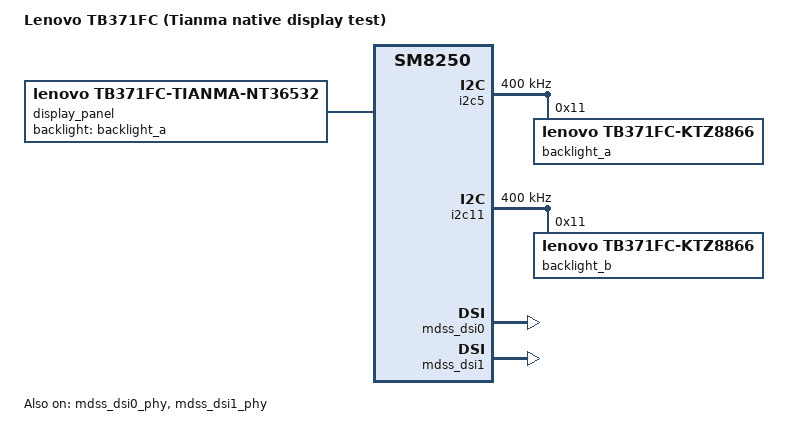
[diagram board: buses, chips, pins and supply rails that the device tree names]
// SPDX-License-Identifier: BSD-3-Clause
/*
 * Lenovo TB371FC native-display test variant.
 *
 * The conservative base DTS intentionally leaves the internal DSI panel off.
 * This variant enables the fitted Tianma NT36532 panel and both synchronized
 * KTZ8866 backlight halves without changing the normal bring-up DTB.
 */

#include "sm8250-lenovo-tb371fc.dts"

/ {
	model = "Lenovo TB371FC (Tianma native display test)";

	chosen {
		stdout-path = "framebuffer0";

		/* Preserve ABL's initialized splash until native DRM takes over. */
		framebuffer0 {
			status = "okay";
			clocks = <&dispcc DISP_CC_MDSS_AHB_CLK>,
				 <&gcc GCC_DISP_HF_AXI_CLK>,
				 <&gcc GCC_DISP_SF_AXI_CLK>,
				 <&dispcc DISP_CC_MDSS_VSYNC_CLK>,
				 <&dispcc DISP_CC_MDSS_MDP_CLK>,
				 <&dispcc DISP_CC_MDSS_BYTE0_CLK>,
				 <&dispcc DISP_CC_MDSS_BYTE0_INTF_CLK>,
				 <&dispcc DISP_CC_MDSS_BYTE1_CLK>,
				 <&dispcc DISP_CC_MDSS_BYTE1_INTF_CLK>,
				 <&dispcc DISP_CC_MDSS_PCLK0_CLK>,
				 <&dispcc DISP_CC_MDSS_PCLK1_CLK>,
				 <&dispcc DISP_CC_MDSS_ESC0_CLK>,
				 <&dispcc DISP_CC_MDSS_ESC1_CLK>;
			power-domains = <&dispcc MDSS_GDSC>;
		};
	};
};

&tlmm {
	/* Exact stock sde_bl_active state, owned by the panel consumer. */
	display_active: display-active-state {
		pins = "gpio33", "gpio54", "gpio77", "gpio78";
		function = "gpio";
		drive-strength = <2>;
		bias-pull-down;
		output-high;
	};
};

&i2c5 {
	status = "okay";
	clock-frequency = <400000>;

	backlight_a: backlight@11 {
		compatible = "lenovo,tb371fc-ktz8866";
		reg = <0x11>;
		lenovo,primary-backlight;
	};
};

&i2c11 {
	status = "okay";
	clock-frequency = <400000>;

	backlight_b: backlight@11 {
		compatible = "lenovo,tb371fc-ktz8866";
		reg = <0x11>;
	};
};

/*
 * The stock/community display path limits one SSPP to 0x758 pixels.  The
 * board-specific catalog makes Linux 7.1 split the 2944-wide primary plane
 * across two SSPPs using the upstream dpu_plane_split() implementation.
 */
&mdss_mdp {
	compatible = "lenovo,tb371fc-dpu";
};

&mdss_dsi0 {
	status = "okay";
};

&display_panel {
	compatible = "lenovo,tb371fc-tianma-nt36532", "novatek,nt36523";
	backlight = <&backlight_a>;
	pinctrl-0 = <&display_active>;
	pinctrl-names = "default";
	status = "okay";
};

&mdss_dsi0_phy {
	compatible = "lenovo,tb371fc-dsi-phy-7nm";
	status = "okay";
};

&mdss_dsi1 {
	status = "okay";
};

&mdss_dsi1_phy {
	compatible = "lenovo,tb371fc-dsi-phy-7nm";
	status = "okay";
};
